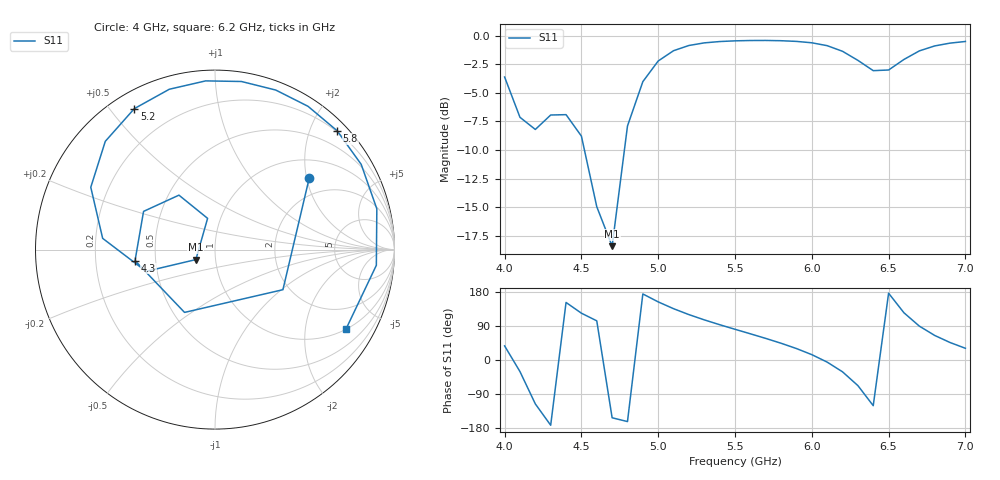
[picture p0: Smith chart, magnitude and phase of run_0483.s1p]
! Touchstone file exported from HFSS 2024.2.0
!  File:  C:/Users/wsak9/Desktop/Sim Fast/Widenad Patch/WP_AI_V1_sweep.aedt
!  Generated:  12:11:41 PM Oct 14, 2026
!  Design:  A1_model
!  Project:  WP_AI_V1_sweep
!  Setup:  Setup1
!  Solution:  Sweep
! Variables:
!  Air_gap = 4.76mm
!  Curve_Amp1 = 3.13
!  Curve_len1 = 1
!  Curve_pos = 12.835mm
!  Extra = 2.65mm
!  H_sub = 0.79mm
!  L_Patch = 21.67mm
!  L_Patch1 = 16.94mm
!  Sx = 1.39mm
!  Sy = 3mm
!  WS = 0.35mm
!  W_Patch = 11.96mm
!  W_Patch1 = 14.29mm
!Data is not renormalized
# GHz S MA
! Terminal data exported
! Port[1] = 1
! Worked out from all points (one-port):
!   31 points, 4 GHz to 7 GHz, reference per port
!   lowest |S11| = -18.4 dB at 4.7 GHz (marker M1), VSWR 1.27
!   |S11| at or under -10 dB: 4.52 GHz to 4.78 GHz (260.3 MHz wide, 5.6 % of centre)
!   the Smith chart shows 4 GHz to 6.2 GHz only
!   S11 on the Smith chart (normalised r, x): 4 GHz: 1.47, +2.07; 4.3 GHz: 0.38, -0.06; 5.2 GHz: 0.07, +0.58; 5.8 GHz: 0.18, +2.45; 6.2 GHz: 1.01, -3.30
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4  0.659 37.2
4.1  0.4395 -30.6
4.2  0.3889 -115.9
4.3  0.4497 -172.2
4.4  0.4514 151.9
4.5  0.3638 123.5
4.6  0.1788 103.3
4.7  0.1203 -152.5
4.8  0.4026 -162.5
4.9  0.629 174.3
5  0.7743 153.4
5.2  0.9049 119.8
5.3  0.929 105.9
5.5  0.9481 81.1
5.7  0.9518 57.0
5.8  0.9494 44.2
5.9  0.9428 30.2
6  0.9298 14.1
6.1  0.9032 -5.6
6.2  0.8536 -31.2
6.3  0.7792 -67.5
6.4  0.7026 -120.5
6.5  0.7071 176.2
6.6  0.7863 124.6
6.7  0.8569 89.5
6.8  0.9008 64.8
6.9  0.9267 46.2
7  0.942 30.9
